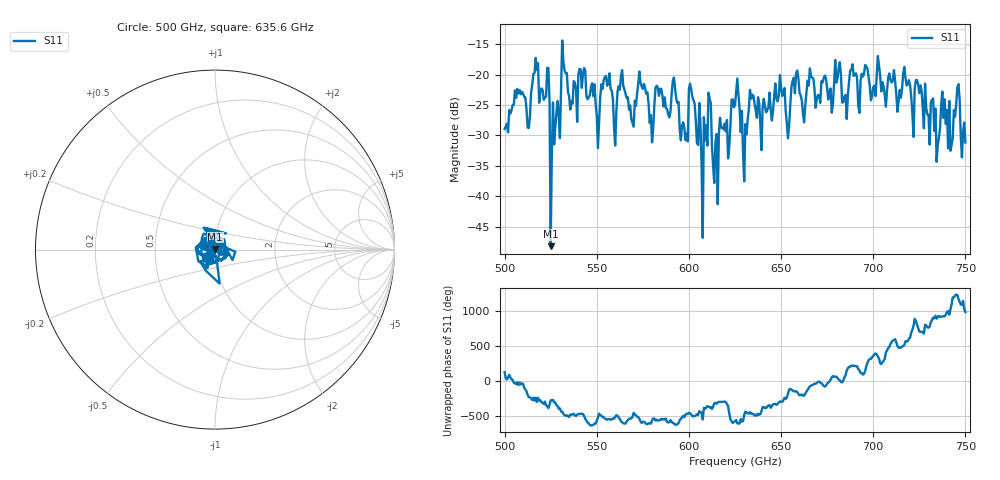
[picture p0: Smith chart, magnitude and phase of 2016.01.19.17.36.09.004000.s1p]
!Created with skrf (http://scikit-rf.org).
# GHz S RI R 50.0
!freq ReS11 ImS11
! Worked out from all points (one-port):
!   401 points, 500 GHz to 750 GHz, reference 50 ohm
!   lowest |S11| = -48.2 dB at 525 GHz (marker M1), VSWR 1.01, Z = 50.1 + j0.381 ohm
!   |S11| at or under -10 dB: start of sweep to end of sweep
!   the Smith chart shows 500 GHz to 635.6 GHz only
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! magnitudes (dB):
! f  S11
! 500 GHz  -28.9
! 513.1 GHz  -28.8
! 516.9 GHz  -17.2
! 523.1 GHz  -18.9
! 525 GHz  -48.2
! 526.2 GHz  -24.6
! 531.2 GHz  -14.4
! 550.6 GHz  -32.1
! 562.5 GHz  -22.5
! 568.8 GHz  -27.3
! 573.8 GHz  -21.4
! 579.4 GHz  -26.6
! 593.8 GHz  -24.7
! 598.1 GHz  -30.8
! 601.2 GHz  -22.4
! 607.5 GHz  -46.8
! 610.6 GHz  -23.0
! 614.4 GHz  -31.1
! 625 GHz  -25.0
! 630.6 GHz  -28.1
! 633.8 GHz  -24.0
! 653.8 GHz  -30.5
! 656.2 GHz  -21.0
! 687.5 GHz  -19.3
! 718.8 GHz  -21.6
! 734.4 GHz  -34.3
! 745.6 GHz  -22.1
! 750 GHz  -31.2
